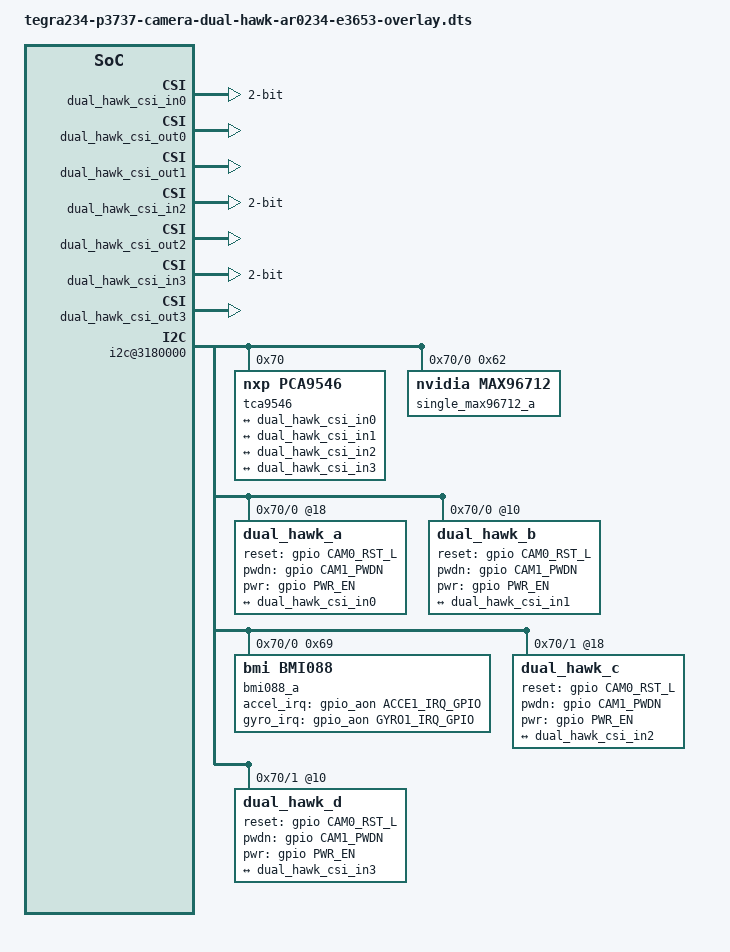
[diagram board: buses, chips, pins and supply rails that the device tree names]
// SPDX-License-Identifier: GPL-2.0-only
// Copyright (c) 2018-2023, NVIDIA CORPORATION & AFFILIATES. All rights reserved.

/dts-v1/;
/plugin/;

#include <dt-bindings/clock/tegra234-clock.h>
#include <dt-bindings/gpio/tegra234-gpio.h>
#include <dt-bindings/tegra234-p3737-0000+p3701-0000.h>

#define CAM0_RST_L	TEGRA234_MAIN_GPIO(H, 3)
#define CAM0_PWDN	TEGRA234_MAIN_GPIO(H, 6)
#define CAM1_RST_L	TEGRA234_MAIN_GPIO(AC, 1)
#define CAM1_PWDN	TEGRA234_MAIN_GPIO(AC, 0)
#define PWR_EN		TEGRA234_MAIN_GPIO(AC, 7)
#define GYRO1_IRQ_GPIO	TEGRA234_AON_GPIO(BB, 1)
#define ACCE1_IRQ_GPIO	TEGRA234_AON_GPIO(BB, 0)

/* camera control gpio definitions */
/ {
	overlay-name = "Jetson Camera e3653-dual-Hawk module";
	jetson-header-name = "Jetson AGX CSI Connector";
	compatible = JETSON_COMPATIBLE;

	fragment@0 {
		target-path = "/";
		__overlay__ {
			tegra-capture-vi {
				num-channels = <4>;
				ports {
					status = "okay";
					port@0 {
						status = "okay";
						dual_hawk_vi_in0: endpoint {
							status = "okay";
							vc-id = <0>;
							port-index = <0>;
							bus-width = <2>;
							remote-endpoint = <&dual_hawk_csi_out0>;
						};
					};
					port@1 {
						status = "okay";
						dual_hawk_vi_in1: endpoint {
							status = "okay";
							vc-id = <1>;
							port-index = <0>;
							bus-width = <2>;
							remote-endpoint = <&dual_hawk_csi_out1>;
						};
					};
					port@2 {
						status = "okay";
						dual_hawk_vi_in2: endpoint {
							status = "okay";
							vc-id = <0>;
							port-index = <1>;
							bus-width = <2>;
							remote-endpoint = <&dual_hawk_csi_out2>;
						};
					};
					port@3 {
						status = "okay";
						dual_hawk_vi_in3: endpoint {
							status = "okay";
							vc-id = <1>;
							port-index = <1>;
							bus-width = <2>;
							remote-endpoint = <&dual_hawk_csi_out3>;
						};
					};
				};
			};
			tegra-camera-platform {
				modules {
					status = "okay";
					module0 {
						status = "okay";
						badge = "dual_hawk_bottomleft";
						position = "bottomleft";
						orientation = "1";
						drivernode0 {
							status = "okay";
							/* Declare PCL support driver (classically known as guid)  */
							pcl_id = "v4l2_sensor";
							/* Declare the device-tree hierarchy to driver instance */
							sysfs-device-tree = "/sys/firmware/devicetree/base/bus@0/i2c@3180000/tca9546@70/i2c@0/dual_hawk_a@18";
						};
					};
					module1 {
						status = "okay";
						badge = "dual_hawk_bottomright";
						position = "bottomright";
						orientation = "1";
						drivernode0 {
							status = "okay";
							/* Declare PCL support driver (classically known as guid)  */
							pcl_id = "v4l2_sensor";
							/* Declare the device-tree hierarchy to driver instance */
							sysfs-device-tree = "/sys/firmware/devicetree/base/bus@0/i2c@3180000/tca9546@70/i2c@0/dual_hawk_b@10";
						};
					};
					module2 {
						badge = "dual_hawk_centerleft";
						position = "centerleft";
						orientation = "1";
						status = "okay";
						drivernode0 {
							status = "okay";
							/* Declare PCL support driver (classically known as guid)  */
							pcl_id = "v4l2_sensor";
							/* Declare the device-tree hierarchy to driver instance */
							sysfs-device-tree = "/sys/firmware/devicetree/base/bus@0/i2c@3180000/tca9546@70/i2c@1/dual_hawk_c@18";
						};
					};
					module3 {
						badge = "dual_hawk_centerright";
						position = "centerright";
						orientation = "1";
						status = "okay";
						drivernode0 {
							status = "okay";
							 /* Declare PCL support driver (classically known as guid)  */
							pcl_id = "v4l2_sensor";
							/* Declare the device-tree hierarchy to driver instance */
							sysfs-device-tree = "/sys/firmware/devicetree/base/bus@0/i2c@3180000/tca9546@70/i2c@1/dual_hawk_d@10";
						};
					};
				};
			};
			bus@0{
				host1x@13e00000 {
					nvcsi@15a00000 {
						num-channels = <4>;
						channel@0 {
							status = "okay";
							ports {
								status = "okay";
								port@0 {
									status = "okay";
									dual_hawk_csi_in0: endpoint@0 {
										status = "okay";
										port-index = <0>;
										bus-width = <2>;
										remote-endpoint = <&dual_hawk_out0>;
									};
								};
								port@1 {
									status = "okay";
									dual_hawk_csi_out0: endpoint@1 {
										status = "okay";
										remote-endpoint = <&dual_hawk_vi_in0>;
									};
								};
							};
						};
						channel@1 {
							status = "okay";
							ports {
								status = "okay";
								port@0 {
									status = "okay";
									dual_hawk_csi_in1: endpoint@2 {
										port-index = <0>;
										bus-width = <2>;
										remote-endpoint = <&dual_hawk_out1>;
									};
								};
								port@1 {
									status = "okay";
									dual_hawk_csi_out1: endpoint@3 {
										status = "okay";
										remote-endpoint = <&dual_hawk_vi_in1>;
									};
								};
							};
						};
						channel@2 {
							status = "okay";
							ports {
								status = "okay";
								port@0 {
									status = "okay";
									dual_hawk_csi_in2: endpoint@4 {
										status = "okay";
										port-index = <1>;
										bus-width = <2>;
										remote-endpoint = <&dual_hawk_out2>;
									};
								};
								port@1 {
									status = "okay";
									dual_hawk_csi_out2: endpoint@5 {
										status = "okay";
										remote-endpoint = <&dual_hawk_vi_in2>;
									};
								};
							};
						};
						channel@3 {
							status = "okay";
							ports {
								status = "okay";
								port@0 {
									status = "okay";
									dual_hawk_csi_in3: endpoint@6 {
										status = "okay";
										port-index = <1>;
										bus-width = <2>;
										remote-endpoint = <&dual_hawk_out3>;
									};
								};
								port@1 {
									status = "okay";
									dual_hawk_csi_out3: endpoint@7 {
										status = "okay";
										remote-endpoint = <&dual_hawk_vi_in3>;
									};
								};
							};
						};
					};
				};
				i2c@3180000 {
					tca9546@70 {
						compatible = "nxp,pca9546";
						reg = <0x70>;
						#address-cells = <1>;
						#size-cells = <0>;
						skip_mux_detect = "yes";
						status = "okay";
						i2c@0 {
							reg = <0>;
							i2c-mux,deselect-on-exit;
							#address-cells = <1>;
							#size-cells = <0>;
							single_max96712_a@62 {
								status = "okay";
								compatible = "nvidia,max96712";
								reg = <0x62>;
								channel = "a";
							};
							dual_hawk_a@18 {
								status = "okay";
								def-addr = <0x18>;
								/* Define any required hw resources needed by driver */
								/* ie. clocks, io pins, power sources */
								clocks = <&bpmp TEGRA234_CLK_EXTPERIPH1>,
									<&bpmp TEGRA234_CLK_EXTPERIPH1>;
								clock-names = "extperiph1", "pllp_grtba";
								mclk = "extperiph1";
								channel = "a";
								has-eeprom;
								reset-gpios = <&gpio CAM0_RST_L GPIO_ACTIVE_HIGH>;
								pwdn-gpios = <&gpio CAM1_PWDN GPIO_ACTIVE_HIGH>;
								pwr-gpios = <&gpio PWR_EN GPIO_ACTIVE_HIGH>;
								ports {
									port@0 {
										dual_hawk_out0: endpoint {
											vc-id = <0>;
											port-index = <0>;
											bus-width = <2>;
											remote-endpoint = <&dual_hawk_csi_in0>;
										};
									};
								};
							};
							dual_hawk_b@10 {
								status = "okay";
								def-addr = <0x10>;
								/* Define any required hw resources needed by driver */
								/* ie. clocks, io pins, power sources */
								clocks = <&bpmp TEGRA234_CLK_EXTPERIPH1>,
									<&bpmp TEGRA234_CLK_EXTPERIPH1>;
								clock-names = "extperiph1", "pllp_grtba";
								mclk = "extperiph1";
								channel = "n";
								has-eeprom;
								reset-gpios = <&gpio CAM0_RST_L GPIO_ACTIVE_HIGH>;
								pwdn-gpios = <&gpio CAM1_PWDN GPIO_ACTIVE_HIGH>;
								pwr-gpios = <&gpio PWR_EN GPIO_ACTIVE_HIGH>;
								ports {
										port@0 {
											dual_hawk_out1: endpoint {
											vc-id = <1>;
											port-index = <0>;
											bus-width = <2>;
											remote-endpoint = <&dual_hawk_csi_in1>;
										};
									};	
								};
							};
							bmi088_a@69 {
								status = "okay";
								compatible = "bmi,bmi088";
								reg = <0x69>;
								accel_i2c_addr = <0x19>;
								accel_irq_gpio = <&gpio_aon ACCE1_IRQ_GPIO GPIO_ACTIVE_HIGH>;
								gyro_irq_gpio = <&gpio_aon GYRO1_IRQ_GPIO GPIO_ACTIVE_HIGH>;
								accel_matrix = [01 00 00 00 01 00 00 00 01];
								gyro_matrix = [01 00 00 00 01 00 00 00 01];
								gyro_reg_0x18 = <0x81>;
							};
						};
						i2c@1 {
							reg = <1>;
							i2c-mux,deselect-on-exit;
							#address-cells = <1>;
							#size-cells = <0>;
							dual_hawk_c@18 {
								status = "okay";
								def-addr = <0x18>;
								/* Define any required hw resources needed by driver */
								/* ie. clocks, io pins, power sources */
								clocks = <&bpmp TEGRA234_CLK_EXTPERIPH1>,
									<&bpmp TEGRA234_CLK_EXTPERIPH1>;
								clock-names = "extperiph1", "pllp_grtba";
								mclk = "extperiph1";
								channel = "n";
								has-eeprom;
								reset-gpios = <&gpio CAM0_RST_L GPIO_ACTIVE_HIGH>;
								pwdn-gpios = <&gpio CAM1_PWDN GPIO_ACTIVE_HIGH>;
								pwr-gpios = <&gpio PWR_EN GPIO_ACTIVE_HIGH>;
								ports {
									port@0 {
										dual_hawk_out2: endpoint {
											vc-id = <0>;
											port-index = <1>;
											bus-width = <2>;
											remote-endpoint = <&dual_hawk_csi_in2>;
										};
									};
								};
							};
							dual_hawk_d@10 {
								status = "okay";
								def-addr = <0x10>;
								/* Define any required hw resources needed by driver */
								/* ie. clocks, io pins, power sources */
								clocks = <&bpmp TEGRA234_CLK_EXTPERIPH1>,
									<&bpmp TEGRA234_CLK_EXTPERIPH1>;
								clock-names = "extperiph1", "pllp_grtba";
								mclk = "extperiph1";
								channel = "n";
								has-eeprom;
								reset-gpios = <&gpio CAM0_RST_L GPIO_ACTIVE_HIGH>;
								pwdn-gpios = <&gpio CAM1_PWDN GPIO_ACTIVE_HIGH>;
								pwr-gpios = <&gpio PWR_EN GPIO_ACTIVE_HIGH>;
								ports {
									port@0 {
										dual_hawk_out3: endpoint {
											vc-id = <1>;
											port-index = <1>;
											bus-width = <2>;
											remote-endpoint = <&dual_hawk_csi_in3>;
										};
									};
								};
							};
						};
					};		
				};
			};
			nvpps {
				status = "disabled";
				compatible = "nvidia,tegra194-nvpps";
				interface = "eth0";
				sec_interface = "eth0";
			};
		};
	};
};
